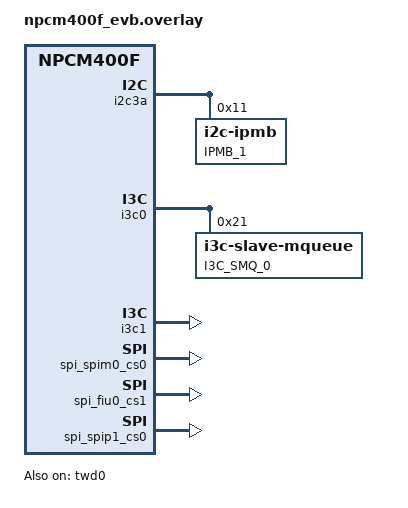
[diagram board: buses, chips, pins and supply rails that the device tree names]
&twd0 {
       status = "okay";
};

&i2c3a {
	ipmb1: ipmb@11 {
		compatible = "zephyr,i2c-ipmb";
		reg = <0x11>;
		label = "IPMB_1";
		size = <5>;
		status = "okay";
	};
};

/* disable i2c6a, pin use by i3c */
&i2c6a {
	status = "disabled";
};

/* disable peci0, pin use by i3c */
&peci0 {
	status = "disabled";
};

&i3c0 {
	bcr = <0x26>;
	dcr = <0xCC>;
	part-id = <0x1234>;
	vendor-def-id = <0x5607>;
	slave;
	secondary;
	status = "okay";
	i3c0_smq:i3c-slave-mqueue@21 {
		compatible = "i3c-slave-mqueue";
		reg = <0x21>;
		msg-size = <256>;
		num-of-msgs = <4>;
		mandatory-data-byte = <0xae>;
		label = "I3C_SMQ_0";
		status = "okay";
	};
};

&i3c1 {
	status = "okay";
};

&spi_spim0_cs0 {
	status = "okay";
};

&spi_fiu0_cs1 {
	status = "okay";
};

&spi_spip1_cs0 {
	status = "okay";
};
